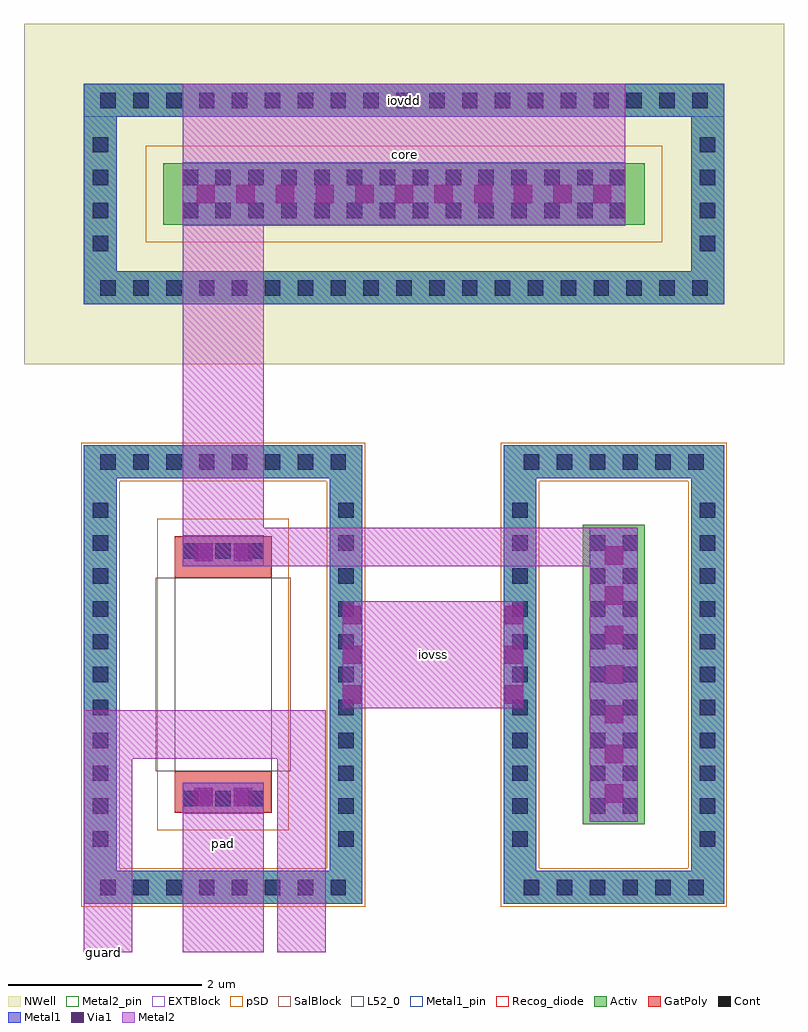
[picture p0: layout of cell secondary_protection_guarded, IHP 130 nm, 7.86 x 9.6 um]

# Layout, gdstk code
import gdstk
lib = gdstk.Library(unit=1e-6, precision=1e-09)
def R(c, l, rs):  # rectangles x0, y0, x1, y1
    for r in rs: c.add(gdstk.rectangle(r[:2], r[2:], *l))
def A(c, l, x, y, w, h, nx, ny, dx, dy):  # array of equal rectangles
    R(c, l, [(x+i*dx, y+j*dy, x+i*dx+w, y+j*dy+h) for i in range(nx) for j in range(ny)])
Activ = (1, 0)
GatPoly = (5, 0)
Cont = (6, 0)
Metal1 = (8, 0)
Metal1_pin = (8, 2)
Metal2 = (10, 0)
Metal2_pin = (10, 2)
pSD = (14, 0)
Via1 = (19, 0)
SalBlock = (28, 0)
NWell = (31, 0)
L52_0 = (52, 0)
Recog_diode = (99, 31)
EXTBlock = (111, 0)

secondary_protection_gua = lib.new_cell('secondary_protection_guarded')
R(secondary_protection_gua, Activ, [(0,0,2.88,0.34), (4.34,0,6.62,0.34), (0,0.34,0.34,4.4), (2.54,0.34,2.88,4.4), (4.34,0.34,4.68,4.4), (6.28,0.34,6.62,4.4), (5.16,0.82,5.8,3.92), (0,4.4,2.88,4.74), (4.34,4.4,6.62,4.74), (0,6.2,6.62,6.54), (0,6.54,0.34,8.14), (6.28,6.54,6.62,8.14), (0.82,7.02,5.8,7.66), (0,8.14,6.62,8.48)])
R(secondary_protection_gua, GatPoly, [(0.94,0.94,1.94,1.37), (0.94,3.37,1.94,3.8)])
A(secondary_protection_gua, Cont, 0.17, 0.09, 0.16, 0.16, 8, 2, 0.34, 4.4)
A(secondary_protection_gua, Cont, 4.55, 0.09, 0.16, 0.16, 6, 2, 0.34, 4.4)
A(secondary_protection_gua, Cont, 0.09, 0.59, 0.16, 0.16, 1, 11, 0, 0.34)
A(secondary_protection_gua, Cont, 2.63, 0.59, 0.16, 0.16, 1, 11, 0, 0.34)
A(secondary_protection_gua, Cont, 4.43, 0.59, 0.16, 0.16, 1, 11, 0, 0.34)
A(secondary_protection_gua, Cont, 6.37, 0.59, 0.16, 0.16, 1, 11, 0, 0.34)
A(secondary_protection_gua, Cont, 5.23, 0.93, 0.16, 0.16, 1, 9, 0, 0.34)
A(secondary_protection_gua, Cont, 5.57, 0.93, 0.16, 0.16, 1, 9, 0, 0.34)
A(secondary_protection_gua, Cont, 1.02, 1.01, 0.16, 0.16, 3, 2, 0.34, 2.56)
A(secondary_protection_gua, Cont, 0.17, 6.29, 0.16, 0.16, 19, 2, 0.34, 1.94)
A(secondary_protection_gua, Cont, 0.09, 6.75, 0.16, 0.16, 1, 4, 0, 0.34)
A(secondary_protection_gua, Cont, 6.37, 6.75, 0.16, 0.16, 1, 4, 0, 0.34)
A(secondary_protection_gua, Cont, 1.02, 7.09, 0.16, 0.16, 14, 2, 0.34, 0.34)
R(secondary_protection_gua, Metal1, [(0,0,2.88,0.34), (4.34,0,6.62,0.34), (0,0.34,0.34,4.4), (2.54,0.34,2.88,4.4), (4.34,0.34,4.68,4.4), (6.28,0.34,6.62,4.4), (5.23,0.85,5.73,3.89), (1.02,0.93,1.86,1.25), (1.02,3.49,1.86,3.81), (0,4.4,2.88,4.74), (4.34,4.4,6.62,4.74), (0,6.2,6.62,6.54), (0,6.54,0.34,8.14), (6.28,6.54,6.62,8.14), (1.02,7.01,5.6,7.67), (0,8.14,6.62,8.48)])
R(secondary_protection_gua, Metal1_pin, [(0,8.14,6.62,8.48)])
R(secondary_protection_gua, Metal2, [(0,-0.5,0.5,1.5), (1.02,-0.5,1.86,1.25), (2,-0.5,2.5,1.5), (5.23,0.85,5.73,3.49), (0,1.5,2.5,2), (2.675,2.02,4.545,3.13), (1.02,3.49,5.73,3.89), (1.02,3.89,1.86,7.01), (1.02,7.01,5.6,8.48)])
R(secondary_protection_gua, Metal2_pin, [(1.02,0,1.86,1.25), (2.675,2.02,4.545,3.13), (1.02,7.01,5.6,8.48)])
R(secondary_protection_gua, pSD, [(-0.03,-0.03,2.91,0.37), (4.31,-0.03,6.65,0.37), (-0.03,0.37,0.37,4.37), (2.51,0.37,2.91,4.37), (4.31,0.37,4.71,4.37), (6.25,0.37,6.65,4.37), (0.76,0.76,2.12,3.98), (-0.03,4.37,2.91,4.77), (4.31,4.37,6.65,4.77), (0.64,6.84,5.98,7.84)])
A(secondary_protection_gua, Via1, 5.385, 1.045, 0.19, 0.19, 1, 7, 0, 0.41)
A(secondary_protection_gua, Via1, 2.68, 2.07, 0.19, 0.19, 1, 3, 0, 0.41)
A(secondary_protection_gua, Via1, 4.35, 2.07, 0.19, 0.19, 1, 3, 0, 0.41)
A(secondary_protection_gua, Via1, 1.165, 7.245, 0.19, 0.19, 11, 1, 0.41, 0)
R(secondary_protection_gua, Via1, [(1.14,1.01,1.33,1.2), (1.55,1.01,1.74,1.2), (1.14,3.54,1.33,3.73), (1.55,3.54,1.74,3.73)])
R(secondary_protection_gua, SalBlock, [(0.74,1.37,2.14,3.37)])
R(secondary_protection_gua, NWell, [(-0.62,5.58,7.24,9.1)])
R(secondary_protection_gua, L52_0, [(0.94,1.37,1.94,3.37)])
R(secondary_protection_gua, Recog_diode, [(5.16,0.82,5.8,3.92), (0.82,7.02,5.8,7.66)])
R(secondary_protection_gua, EXTBlock, [(0.76,0.76,2.12,3.98)])
secondary_protection_gua.add(gdstk.Label('iovdd', (3.31,8.31), layer=8, texttype=25))
secondary_protection_gua.add(gdstk.Label('iovss', (3.61,2.575), layer=10, texttype=25))
secondary_protection_gua.add(gdstk.Label('core', (3.31,7.745), layer=10, texttype=25))
secondary_protection_gua.add(gdstk.Label('pad', (1.44,0.625), layer=10, texttype=25))
secondary_protection_gua.add(gdstk.Label('guard', (0.2,-0.5), layer=10, texttype=25))

lib.write_gds('secondary_protection_guarded.gds')
